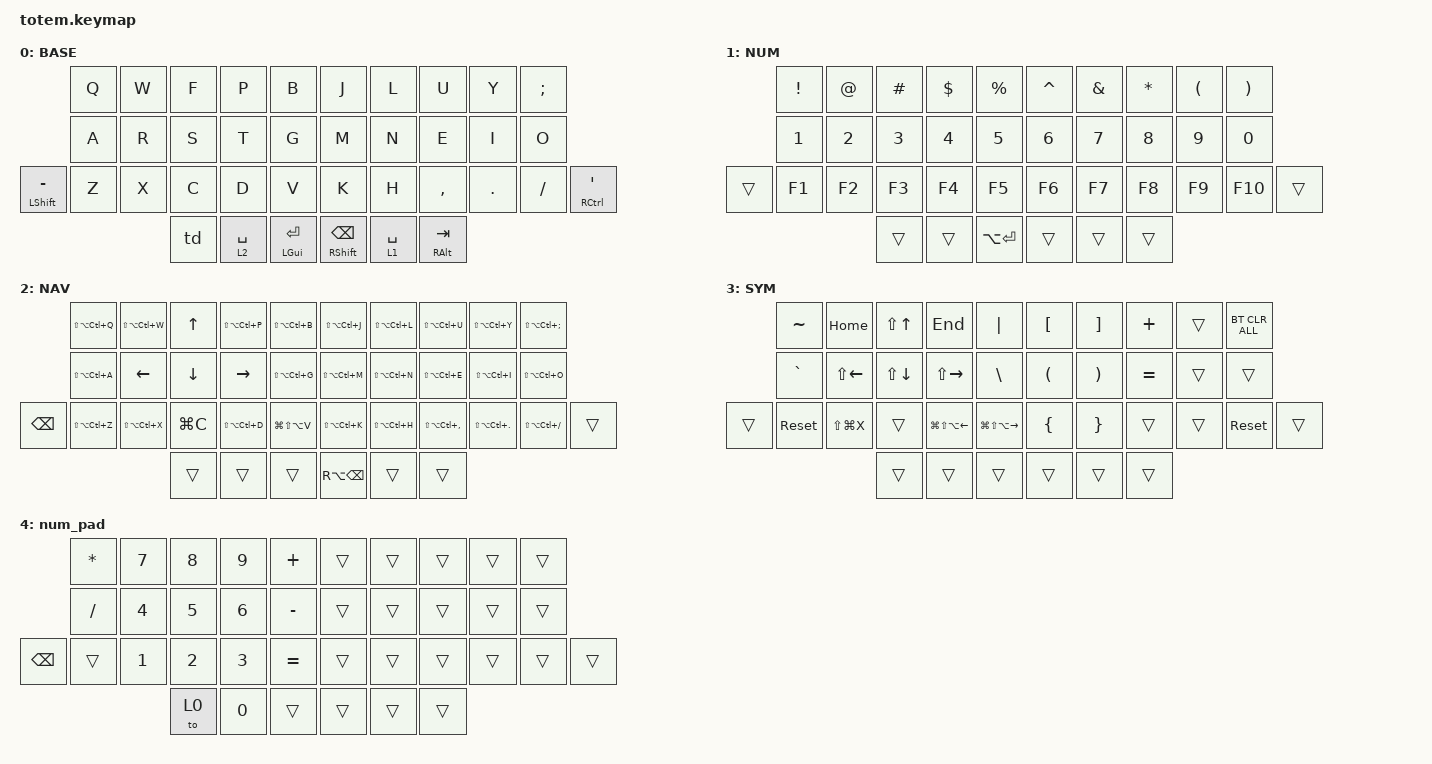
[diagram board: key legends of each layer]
#include <behaviors.dtsi>
#include <dt-bindings/zmk/bt.h>
#include <dt-bindings/zmk/keys.h>

#define BASE 0
#define NUM  1
#define NAV  2
#define SYM  3

&mt {
    quick-tap-ms = <100>;
    global-quick-tap;
    flavor = "tap-preferred";
    tapping-term-ms = <220>;
};

/ {
    behaviors {
        lpht: left_positional_hold_tap {
            compatible = "zmk,behavior-hold-tap";
            #binding-cells = <2>;
            flavor = "tap-preferred";
            tapping-term-ms = <170>;
            quick-tap-ms = <300>;
            bindings = <&kp>, <&kp>;

            hold-trigger-key-positions = <5 6 7 8 9 15 16 17 18 19 26 27 28 29 30 31>;
            require-prior-idle-ms = <70>;
        };

        rpht: right_positional_hold_tap {
            compatible = "zmk,behavior-hold-tap";
            #binding-cells = <2>;
            flavor = "tap-preferred";
            tapping-term-ms = <170>;
            quick-tap-ms = <300>;
            bindings = <&kp>, <&kp>;

            hold-trigger-key-positions = <0 1 2 3 4 10 11 12 13 14 20 21 22 23 24 25>;
            require-prior-idle-ms = <70>;
        };

        td: td {
            compatible = "zmk,behavior-tap-dance";
            label = "TD";
            #binding-cells = <0>;
            bindings = <&lt 3 ESC>, <&to 4>;

            tapping-term-ms = <220>;
        };
    };

    keymap {
        compatible = "zmk,keymap";

        base_layer {
            label = "BASE";
            bindings = <
                 &kp Q  &kp W  &kp F  &kp P        &kp B           &kp J           &kp L        &kp U         &kp Y    &kp SEMI
                 &kp A  &kp R  &kp S  &kp T        &kp G           &kp M           &kp N        &kp E         &kp I    &kp O
&mt LSHFT MINUS  &kp Z  &kp X  &kp C  &kp D        &kp V           &kp K           &kp H        &kp COMMA     &kp DOT  &kp FSLH  &mt RCTRL APOS
                               &td    &lt 2 SPACE  &mt LGUI RET    &mt RSHFT BSPC  &lt 1 SPACE  &mt RALT TAB
            >;
        };

        num_layer {
            label = "NUM";
            bindings = <
        &kp EXCL  &kp AT  &kp HASH  &kp DOLLAR  &kp PERCENT    &kp CARET  &kp AMPS  &kp STAR  &kp LPAR  &kp RPAR
        &kp N1    &kp N2  &kp N3    &kp N4      &kp N5         &kp N6     &kp N7    &kp N8    &kp N9    &kp N0
&trans  &kp F1    &kp F2  &kp F3    &kp F4      &kp F5         &kp F6     &kp F7    &kp F8    &kp F9    &kp F10   &trans
                          &trans    &trans      &kp LA(RET)    &trans     &trans    &trans
            >;
        };

        nav_layer {
            label = "NAV";
            bindings = <
          &kp LS(LA(LC(Q)))  &kp LS(LA(LC(W)))  &kp UP_ARROW    &kp LS(LA(LC(P)))  &kp LS(LA(LC(B)))    &kp LS(LA(LC(J)))  &kp LS(LA(LC(L)))  &kp LS(LA(LC(U)))      &kp LS(LA(LC(Y)))    &kp LS(LA(LC(SEMI)))
          &kp LS(LA(LC(A)))  &kp LEFT_ARROW     &kp DOWN_ARROW  &kp RIGHT_ARROW    &kp LS(LA(LC(G)))    &kp LS(LA(LC(M)))  &kp LS(LA(LC(N)))  &kp LS(LA(LC(E)))      &kp LS(LA(LC(I)))    &kp LS(LA(LC(O)))
&kp BSPC  &kp LS(LA(LC(Z)))  &kp LS(LA(LC(X)))  &kp LG(C)       &kp LS(LA(LC(D)))  &kp LG(LS(LA(V)))    &kp LS(LA(LC(K)))  &kp LS(LA(LC(H)))  &kp LS(LA(LC(COMMA)))  &kp LS(LA(LC(DOT)))  &kp LS(LA(LC(FSLH)))  &trans
                                                &trans          &trans             &trans               &kp RA(BSPC)       &trans             &trans
            >;
        };

        sym_layer {
            label = "SYM";
            bindings = <
        &kp TILDE   &kp HOME            &kp LS(UP_ARROW)    &kp END               &kp PIPE                 &kp LBKT  &kp RBKT  &kp PLUS   &trans  &bt BT_CLR_ALL
        &kp GRAVE   &kp LS(LEFT_ARROW)  &kp LS(DOWN_ARROW)  &kp LS(RIGHT_ARROW)   &kp BSLH                 &kp LPAR  &kp RPAR  &kp EQUAL  &trans  &trans
&trans  &sys_reset  &kp LS(LG(X))       &trans              &kp LG(LS(LA(LEFT)))  &kp LG(LS(LA(RIGHT)))    &kp LBRC  &kp RBRC  &trans     &trans  &sys_reset      &trans
                                        &trans              &trans                &trans                   &trans    &trans    &trans
            >;
        };

        num_pad {
            bindings = <
               &kp STAR   &kp N7  &kp N8  &kp N9  &kp PLUS     &trans  &trans  &trans  &trans  &trans
               &kp SLASH  &kp N4  &kp N5  &kp N6  &kp MINUS    &trans  &trans  &trans  &trans  &trans
&kp BACKSPACE  &trans     &kp N1  &kp N2  &kp N3  &kp EQUAL    &trans  &trans  &trans  &trans  &trans  &trans
                                  &to 0   &kp N0  &trans       &trans  &trans  &trans
            >;
        };
    };
};
